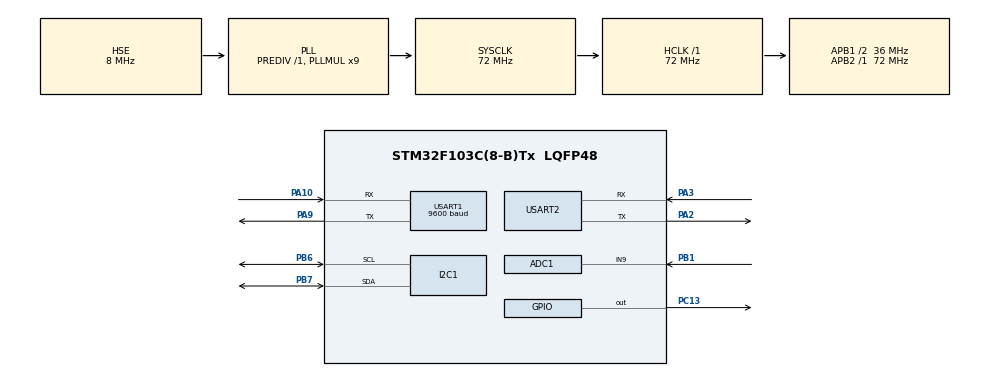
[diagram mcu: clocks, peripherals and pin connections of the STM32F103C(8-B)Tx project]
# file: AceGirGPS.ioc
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ADC1.Channel-0\#ChannelRegularConversion=ADC_CHANNEL_9
ADC1.NbrOfConversionFlag=1
ADC1.master=1
Dma.Request0=USART1_RX
Dma.Request1=USART1_TX
Dma.Request2=USART2_RX
Dma.Request3=USART2_TX
Dma.USART1_RX.0.Direction=DMA_PERIPH_TO_MEMORY
Dma.USART1_RX.0.Instance=DMA1_Channel5
Dma.USART1_RX.0.MemDataAlignment=DMA_MDATAALIGN_BYTE
Dma.USART1_RX.0.MemInc=DMA_MINC_ENABLE
Dma.USART1_RX.0.Mode=DMA_NORMAL
Dma.USART1_RX.0.PeriphDataAlignment=DMA_PDATAALIGN_BYTE
Dma.USART1_RX.0.PeriphInc=DMA_PINC_DISABLE
Dma.USART1_RX.0.Priority=DMA_PRIORITY_LOW
Dma.USART1_TX.1.Direction=DMA_MEMORY_TO_PERIPH
Dma.USART1_TX.1.Instance=DMA1_Channel4
Dma.USART1_TX.1.MemDataAlignment=DMA_MDATAALIGN_BYTE
Dma.USART1_TX.1.MemInc=DMA_MINC_ENABLE
Dma.USART1_TX.1.Mode=DMA_NORMAL
Dma.USART1_TX.1.PeriphDataAlignment=DMA_PDATAALIGN_BYTE
Dma.USART1_TX.1.PeriphInc=DMA_PINC_DISABLE
Dma.USART1_TX.1.Priority=DMA_PRIORITY_LOW
Dma.USART2_RX.2.Direction=DMA_PERIPH_TO_MEMORY
Dma.USART2_RX.2.Instance=DMA1_Channel6
Dma.USART2_RX.2.MemDataAlignment=DMA_MDATAALIGN_BYTE
Dma.USART2_RX.2.MemInc=DMA_MINC_ENABLE
Dma.USART2_RX.2.Mode=DMA_NORMAL
Dma.USART2_RX.2.PeriphDataAlignment=DMA_PDATAALIGN_BYTE
Dma.USART2_RX.2.PeriphInc=DMA_PINC_DISABLE
Dma.USART2_RX.2.Priority=DMA_PRIORITY_LOW
Dma.USART2_TX.3.Direction=DMA_MEMORY_TO_PERIPH
Dma.USART2_TX.3.Instance=DMA1_Channel7
Dma.USART2_TX.3.MemDataAlignment=DMA_MDATAALIGN_BYTE
Dma.USART2_TX.3.MemInc=DMA_MINC_ENABLE
Dma.USART2_TX.3.Mode=DMA_NORMAL
Dma.USART2_TX.3.PeriphDataAlignment=DMA_PDATAALIGN_BYTE
Dma.USART2_TX.3.PeriphInc=DMA_PINC_DISABLE
Dma.USART2_TX.3.Priority=DMA_PRIORITY_LOW
Mcu.Family=STM32F1
Mcu.Name=STM32F103C(8-B)Tx
Mcu.Package=LQFP48
NVIC.DMA1_Channel4_IRQn=true\:0\:0\:false\:false\:true\:false\:true
NVIC.DMA1_Channel5_IRQn=true\:0\:0\:false\:false\:true\:false\:true
NVIC.DMA1_Channel6_IRQn=true\:0\:0\:false\:false\:true\:false\:true
NVIC.DMA1_Channel7_IRQn=true\:0\:0\:false\:false\:true\:false\:true
NVIC.PriorityGroup=NVIC_PRIORITYGROUP_4
NVIC.USART1_IRQn=true\:0\:0\:false\:false\:true\:true\:true
NVIC.USART2_IRQn=true\:0\:0\:false\:false\:true\:true\:true
PA10.Mode=Asynchronous
PA10.Signal=USART1_RX
PA13.Mode=Serial_Wire
PA13.Signal=SYS_JTMS-SWDIO
PA14.Mode=Serial_Wire
PA14.Signal=SYS_JTCK-SWCLK
PA2.Mode=Asynchronous
PA2.Signal=USART2_TX
PA3.Mode=Asynchronous
PA3.Signal=USART2_RX
PA9.Mode=Asynchronous
PA9.Signal=USART1_TX
PB1.Signal=ADCx_IN9
PB6.Mode=I2C
PB6.Signal=I2C1_SCL
PB7.Mode=I2C
PB7.Signal=I2C1_SDA
PC13-TAMPER-RTC.Signal=GPIO_Output
PD0-OSC_IN.Mode=HSE-External-Oscillator
PD0-OSC_IN.Signal=RCC_OSC_IN
PD1-OSC_OUT.Mode=HSE-External-Oscillator
PD1-OSC_OUT.Signal=RCC_OSC_OUT
ProjectManager.HeapSize=0x200
ProjectManager.StackSize=0x400
ProjectManager.TargetToolchain=STM32CubeIDE
RCC.AHBFreq_Value=72000000
RCC.APB1CLKDivider=RCC_HCLK_DIV2
RCC.APB1Freq_Value=36000000
RCC.APB1TimFreq_Value=72000000
RCC.APB2Freq_Value=72000000
RCC.APB2TimFreq_Value=72000000
RCC.HCLKFreq_Value=72000000
RCC.PLLMUL=RCC_PLL_MUL9
RCC.PLLSourceVirtual=RCC_PLLSOURCE_HSE
RCC.SYSCLKFreq_VALUE=72000000
RCC.SYSCLKSource=RCC_SYSCLKSOURCE_PLLCLK
RCC.USBFreq_Value=72000000
SH.ADCx_IN9.0=ADC1_IN9,IN9
USART1.BaudRate=9600
USART1.VirtualMode=VM_ASYNC
USART2.VirtualMode=VM_ASYNC
board=custom

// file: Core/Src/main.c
/* USER CODE BEGIN Header */
/**
  ******************************************************************************
  * @file           : main.c
  * @brief          : Main program body
  ******************************************************************************
  * @attention
  *
  * <h2><center>&copy; Copyright (c) 2020 STMicroelectronics.
  * All rights reserved.</center></h2>
  *
  * This software component is licensed by ST under BSD 3-Clause license,
  * the "License"; You may not use this file except in compliance with the
  * License. You may obtain a copy of the License at:
  *                        opensource.org/licenses/BSD-3-Clause
  *
  ******************************************************************************
  */
/* USER CODE END Header */

#include "main.h"

/* USER CODE BEGIN Includes */
#include <stdlib.h>
#include <math.h>
/* USER CODE END Includes */

ADC_HandleTypeDef hadc1;

I2C_HandleTypeDef hi2c1;

UART_HandleTypeDef huart1;
UART_HandleTypeDef huart2;
DMA_HandleTypeDef hdma_usart1_rx;
DMA_HandleTypeDef hdma_usart1_tx;
DMA_HandleTypeDef hdma_usart2_rx;
DMA_HandleTypeDef hdma_usart2_tx;

/* USER CODE BEGIN PV */

// variaveis MPU6050
#define MPU6050_ADDR 0xD0
#define SMPLRT_DIV_REG 0x19
#define GYRO_CONFIG_REG 0x1B
#define ACCEL_CONFIG_REG 0x1C
#define ACCEL_XOUT_H_REG 0x3B
#define TEMP_OUT_H_REG 0x41
#define GYRO_XOUT_H_REG 0x43
#define PWR_MGMT_1_REG 0x6B
#define WHO_AM_I_REG 0x75
int16_t Accel_X_RAW = 0;
int16_t Accel_Y_RAW = 0;
int16_t Accel_Z_RAW = 0;
int16_t Gyro_X_RAW = 0;
int16_t Gyro_Y_RAW = 0;
int16_t Gyro_Z_RAW = 0;
float Ax, Ay, Az, Gx, Gy, Gz;
float roll, pitch, yaw;

// variaveis GPS
uint8_t rx_gps[1]; //armazena caracteres recebidos do gps
int lendoDado = 0; //variavel de controle do gps
int x = 0; //contador da string do gps
char lat_String[9]; //armazena latitude em char
int lat_Cont; //contador da latitude
float lat=0; //armazena latitude em float
char lon_String[10]; //armazena longitude em char
int lon_Cont; //contador da longitude
float lon=0; //armazena longitude em float
char vel_String[4]; //armazena velocidade em char
int vel_Cont; //contador da velocidade
float vel=0; //armazena velocidade em float
char gps_freq[] = { 0xB5, 0x62, 0x06, 0x08, 0x06, 0x00, 0x64, 0x00, 0x01, 0x00, 0x01, 0x00, 0x7A, 0x12, 0xB5, 0x62, 0x06, 0x08, 0x00, 0x00, 0x0E, 0x30 }; //codigo de frequencia de 10hz do gps (datasheet)
char gps_baud[] = { 0xB5, 0x62, 0x06, 0x00, 0x14, 0x00, 0x01, 0x00, 0x00, 0x00,
		0xD0, 0x08, 0x00, 0x00, 0x00, 0xC2, 0x01, 0x00, 0x23, 0x00, 0x03, 0x00,
		0x00, 0x00, 0x00, 0x00, 0xDC, 0x5E, 0xB5, 0x62, 0x06, 0x00, 0x01, 0x00,
		0x01, 0x08, 0x22 }; //codigo de baudrate 115200 do gps (datasheet)

//variaveis bussola
int analog_bussola = 0; //armazena valor analogico lido da bussola
float bussola = 0; //armazena valor convertido da bussola em graus

// variaveis gerais
char rx_pc[1];
char buffer[56];

/* USER CODE END PV */

void SystemClock_Config(void);
static void MX_GPIO_Init(void);
static void MX_I2C1_Init(void);
static void MX_USART1_UART_Init(void);
static void MX_USART2_UART_Init(void);
static void MX_DMA_Init(void);
static void MX_ADC1_Init(void);

/* USER CODE BEGIN 0 */

void Inicializar_MPU6050 (void)
{
	uint8_t check;
	uint8_t dados;

	// checar se o módulo está conectado
	HAL_I2C_Mem_Read (&hi2c1, MPU6050_ADDR,WHO_AM_I_REG,1, &check, 1, 1000);

	if (check == 104)  // 0x68 = 104 -> será retornado seu o modulo estiver OK
	{
		// ligar sensor
		dados = 0;
		HAL_I2C_Mem_Write(&hi2c1, MPU6050_ADDR, PWR_MGMT_1_REG, 1,&dados, 1, 1000);

		// definir frequencia de 1khz
		dados = 0x07;
		HAL_I2C_Mem_Write(&hi2c1, MPU6050_ADDR, SMPLRT_DIV_REG, 1, &dados, 1, 1000);

		// definir configuracao de acelerometro
		dados = 0x00;
		HAL_I2C_Mem_Write(&hi2c1, MPU6050_ADDR, ACCEL_CONFIG_REG, 1, &dados, 1, 1000);

		// definir configuracao de giroscopio
		dados = 0x00;
		HAL_I2C_Mem_Write(&hi2c1, MPU6050_ADDR, GYRO_CONFIG_REG, 1, &dados, 1, 1000);
	}

}

void Ler_Acelerometro (void)
{
	uint8_t acelerometro[6];

	HAL_I2C_Mem_Read (&hi2c1, MPU6050_ADDR, ACCEL_XOUT_H_REG, 1, acelerometro, 6, 1000);

	Accel_X_RAW = (int16_t)(acelerometro[0] << 8 | acelerometro [1]);
	Accel_Y_RAW = (int16_t)(acelerometro[2] << 8 | acelerometro [3]);
	Accel_Z_RAW = (int16_t)(acelerometro[4] << 8 | acelerometro [5]);

	//converter valores em 'g', dividindo por 16384 (FS_SEL)=0
	Ax = Accel_X_RAW/16384.0;
	Ay = Accel_Y_RAW/16384.0;
	Az = Accel_Z_RAW/16384.0;
}

void Ler_Giroscopio (void)
{
	uint8_t Rec_Data[6];

	HAL_I2C_Mem_Read (&hi2c1, MPU6050_ADDR, GYRO_XOUT_H_REG, 1, Rec_Data, 6, 1000);

	Gyro_X_RAW = (int16_t)(Rec_Data[0] << 8 | Rec_Data [1]);
	Gyro_Y_RAW = (int16_t)(Rec_Data[2] << 8 | Rec_Data [3]);
	Gyro_Z_RAW = (int16_t)(Rec_Data[4] << 8 | Rec_Data [5]);

	//converter valores em 'graus/segundo', dividindo por 131 (FS_SEL)=0
	Gx = Gyro_X_RAW/131.0;
	Gy = Gyro_Y_RAW/131.0;
	Gz = Gyro_Z_RAW/131.0;
}

void Roll_Pitch_Yaw(){
	//utilizando os dados de acelerometro e giroscopio para calcular roll
	roll = ((180*atan(Ay/Az)/3.14)+Gx)/2;

	//utilizando os dados de acelerometro e giroscopio para calcular pitch
	pitch = ((180*atan(-Ax/sqrt(pow(Ax,2)+pow(Ay,2)))/3.14)+Gy)/2;

	//utilizando os dados de acelerometro, giroscopio e bussola para calcular yaw
	yaw = ((180*atan((bussola*cos(pitch)+bussola*sin(pitch))/(bussola*sin(roll)*sin(pitch)+bussola*cos(roll)-bussola*sin(roll)*cos(pitch)))/3.14)+Gz)/2;
}

void Inicializar_GPS() {
	HAL_Delay(2000);
	HAL_UART_Transmit(&huart1, "\r\n\r\n$PUBX,40,GGA,0,0,0,0,0,0*5A\r\n\r\n", 35, 10000); //remove mensagem GGA
	HAL_Delay(10);
	HAL_UART_Transmit(&huart1, "\r\n\r\n$PUBX,40,GSV,0,0,0,0,0,0*59\r\n\r\n", 35, 10000); //remove mensagem GSV
	HAL_Delay(10);
	HAL_UART_Transmit(&huart1, "\r\n\r\n$PUBX,40,GSA,0,0,0,0,0,0*4E\r\n\r\n", 35, 10000); //remove mensagem GSA
	HAL_Delay(10);
	HAL_UART_Transmit(&huart1, "\r\n\r\n$PUBX,40,GLL,0,0,0,0,0,0*5C\r\n\r\n", 35, 10000); //remove mensagem GLL
	HAL_Delay(10);
	HAL_UART_Transmit(&huart1, "\r\n\r\n$PUBX,40,VTG,0,0,0,0,0,0*5E\r\n\r\n", 35, 10000); //remove mensagem VTG
	HAL_Delay(10);
	HAL_UART_Transmit(&huart1, "\r\n\r\n$PUBX,40,GSV,0,0,0,0,0,0*59\r\n\r\n", 35, 10000); //remove mensagem GSV
	HAL_Delay(10);
	HAL_UART_Transmit(&huart1, gps_freq,22, 10000); //define frequencia de 10hz
	HAL_Delay(10);
	HAL_UART_Transmit(&huart1, gps_baud,37 , 10000); //define baudrate de 115200
	HAL_Delay(10);
	HAL_UART_DeInit(&huart1);
	huart1.Init.BaudRate = 115200;
	HAL_UART_Init(&huart1);

	for(int i=0;i<9;i++){
		lat_String[i]='0';
		lon_String[i]='0';
	}
	lon_String[9]='0';
}

void Valores_GPS() {
	if (rx_gps[0] == '$') { //inicio da string enviada pelo gps
		lendoDado = 1;
	}
	if (rx_gps[0] == '*' || x > 100) { //fim da string enviada pelo gps
		lendoDado = 0;
		x = 0;
		lat_Cont=0;
		lon_Cont=0;
		lat = atof(lat_String);
		lon = atof(lon_String);
		vel = atof(vel_String);
	}
	if (lendoDado == 1) {
		if (x >= 19 && x <= 27) { //armazena dados de latitude
			lat_String[lat_Cont]= rx_gps[0];
			lat_Cont++;
		}
		if (x >= 32 && x <= 41) { //armazena dados de longitude
			lon_String[lon_Cont] = rx_gps[0];
			lon_Cont++;
		}
		if (x >= 43 && x <= 46) { //armazena dados de velocidade
			vel_String[vel_Cont] = rx_gps[0];
			vel_Cont++;
		}
		x++;
	}
}

void Ler_Bussola(){
	HAL_ADC_Start(&hadc1);
	HAL_ADC_PollForConversion(&hadc1, 1000);
	analog_bussola = HAL_ADC_GetValue(&hadc1); //12 bits -> 0 a 4095
	HAL_ADC_Stop(&hadc1);
	bussola = analog_bussola*360/4096;
}

/* USER CODE END 0 */

int main(void)
{

  /* MCU Configuration--------------------------------------------------------*/

  /* Reset of all peripherals, Initializes the Flash interface and the Systick. */
  HAL_Init();

  /* Configure the system clock */
  SystemClock_Config();

  /* Initialize all configured peripherals */
  MX_GPIO_Init();
  MX_I2C1_Init();
  MX_USART1_UART_Init();
  MX_USART2_UART_Init();
  MX_DMA_Init();
  MX_ADC1_Init();
  /* USER CODE BEGIN 2 */

  // inicializar sensores
  Inicializar_GPS();
  Inicializar_MPU6050();

  // inicializar interrupcoes
  HAL_UART_Receive_DMA(&huart1, rx_gps, 1);
  HAL_UART_Receive_DMA(&huart2, rx_pc, 1);

  /* USER CODE END 2 */

  /* Infinite loop */
  while (1)
  {

    /* USER CODE BEGIN 3 */

	Ler_Acelerometro();
	Ler_Giroscopio();
	Ler_Bussola();

	Roll_Pitch_Yaw();

	sprintf(buffer,"%.3f;%.3f;%.3f;%.4f;%.4f;%.2f\n",roll, pitch, yaw, lat, lon, vel);

	HAL_UART_Transmit(&huart2, buffer, strlen(buffer), 500);

	HAL_Delay (1000);
  }
  /* USER CODE END 3 */
}

void SystemClock_Config(void)
{
  RCC_OscInitTypeDef RCC_OscInitStruct = {0};
  RCC_ClkInitTypeDef RCC_ClkInitStruct = {0};
  RCC_PeriphCLKInitTypeDef PeriphClkInit = {0};

  /** Initializes the CPU, AHB and APB busses clocks
  */
  RCC_OscInitStruct.OscillatorType = RCC_OSCILLATORTYPE_HSE;
  RCC_OscInitStruct.HSEState = RCC_HSE_ON;
  RCC_OscInitStruct.HSEPredivValue = RCC_HSE_PREDIV_DIV1;
  RCC_OscInitStruct.HSIState = RCC_HSI_ON;
  RCC_OscInitStruct.PLL.PLLState = RCC_PLL_ON;
  RCC_OscInitStruct.PLL.PLLSource = RCC_PLLSOURCE_HSE;
  RCC_OscInitStruct.PLL.PLLMUL = RCC_PLL_MUL9;
  if (HAL_RCC_OscConfig(&RCC_OscInitStruct) != HAL_OK)
  {
    Error_Handler();
  }
  /** Initializes the CPU, AHB and APB busses clocks
  */
  RCC_ClkInitStruct.ClockType = RCC_CLOCKTYPE_HCLK|RCC_CLOCKTYPE_SYSCLK
                              |RCC_CLOCKTYPE_PCLK1|RCC_CLOCKTYPE_PCLK2;
  RCC_ClkInitStruct.SYSCLKSource = RCC_SYSCLKSOURCE_PLLCLK;
  RCC_ClkInitStruct.AHBCLKDivider = RCC_SYSCLK_DIV1;
  RCC_ClkInitStruct.APB1CLKDivider = RCC_HCLK_DIV2;
  RCC_ClkInitStruct.APB2CLKDivider = RCC_HCLK_DIV1;

  if (HAL_RCC_ClockConfig(&RCC_ClkInitStruct, FLASH_LATENCY_2) != HAL_OK)
  {
    Error_Handler();
  }
  PeriphClkInit.PeriphClockSelection = RCC_PERIPHCLK_ADC;
  PeriphClkInit.AdcClockSelection = RCC_ADCPCLK2_DIV2;
  if (HAL_RCCEx_PeriphCLKConfig(&PeriphClkInit) != HAL_OK)
  {
    Error_Handler();
  }
}

static void MX_ADC1_Init(void)
{

  ADC_ChannelConfTypeDef sConfig = {0};

  /** Common config
  */
  hadc1.Instance = ADC1;
  hadc1.Init.ScanConvMode = ADC_SCAN_DISABLE;
  hadc1.Init.ContinuousConvMode = DISABLE;
  hadc1.Init.DiscontinuousConvMode = DISABLE;
  hadc1.Init.ExternalTrigConv = ADC_SOFTWARE_START;
  hadc1.Init.DataAlign = ADC_DATAALIGN_RIGHT;
  hadc1.Init.NbrOfConversion = 1;
  if (HAL_ADC_Init(&hadc1) != HAL_OK)
  {
    Error_Handler();
  }
  /** Configure Regular Channel
  */
  sConfig.Channel = ADC_CHANNEL_9;
  sConfig.Rank = ADC_REGULAR_RANK_1;
  sConfig.SamplingTime = ADC_SAMPLETIME_1CYCLE_5;
  if (HAL_ADC_ConfigChannel(&hadc1, &sConfig) != HAL_OK)
  {
    Error_Handler();
  }

}

static void MX_I2C1_Init(void)
{

  hi2c1.Instance = I2C1;
  hi2c1.Init.ClockSpeed = 100000;
  hi2c1.Init.DutyCycle = I2C_DUTYCYCLE_2;
  hi2c1.Init.OwnAddress1 = 0;
  hi2c1.Init.AddressingMode = I2C_ADDRESSINGMODE_7BIT;
  hi2c1.Init.DualAddressMode = I2C_DUALADDRESS_DISABLE;
  hi2c1.Init.OwnAddress2 = 0;
  hi2c1.Init.GeneralCallMode = I2C_GENERALCALL_DISABLE;
  hi2c1.Init.NoStretchMode = I2C_NOSTRETCH_DISABLE;
  if (HAL_I2C_Init(&hi2c1) != HAL_OK)
  {
    Error_Handler();
  }

}

static void MX_USART1_UART_Init(void)
{

  huart1.Instance = USART1;
  huart1.Init.BaudRate = 9600;
  huart1.Init.WordLength = UART_WORDLENGTH_8B;
  huart1.Init.StopBits = UART_STOPBITS_1;
  huart1.Init.Parity = UART_PARITY_NONE;
  huart1.Init.Mode = UART_MODE_TX_RX;
  huart1.Init.HwFlowCtl = UART_HWCONTROL_NONE;
  huart1.Init.OverSampling = UART_OVERSAMPLING_16;
  if (HAL_UART_Init(&huart1) != HAL_OK)
  {
    Error_Handler();
  }

}

static void MX_USART2_UART_Init(void)
{

  huart2.Instance = USART2;
  huart2.Init.BaudRate = 115200;
  huart2.Init.WordLength = UART_WORDLENGTH_8B;
  huart2.Init.StopBits = UART_STOPBITS_1;
  huart2.Init.Parity = UART_PARITY_NONE;
  huart2.Init.Mode = UART_MODE_TX_RX;
  huart2.Init.HwFlowCtl = UART_HWCONTROL_NONE;
  huart2.Init.OverSampling = UART_OVERSAMPLING_16;
  if (HAL_UART_Init(&huart2) != HAL_OK)
  {
    Error_Handler();
  }

}

static void MX_DMA_Init(void)
{

  /* DMA controller clock enable */
  __HAL_RCC_DMA1_CLK_ENABLE();

  /* DMA interrupt init */
  /* DMA1_Channel4_IRQn interrupt configuration */
  HAL_NVIC_SetPriority(DMA1_Channel4_IRQn, 0, 0);
  HAL_NVIC_EnableIRQ(DMA1_Channel4_IRQn);
  /* DMA1_Channel5_IRQn interrupt configuration */
  HAL_NVIC_SetPriority(DMA1_Channel5_IRQn, 0, 0);
  HAL_NVIC_EnableIRQ(DMA1_Channel5_IRQn);
  /* DMA1_Channel6_IRQn interrupt configuration */
  HAL_NVIC_SetPriority(DMA1_Channel6_IRQn, 0, 0);
  HAL_NVIC_EnableIRQ(DMA1_Channel6_IRQn);
  /* DMA1_Channel7_IRQn interrupt configuration */
  HAL_NVIC_SetPriority(DMA1_Channel7_IRQn, 0, 0);
  HAL_NVIC_EnableIRQ(DMA1_Channel7_IRQn);

}

static void MX_GPIO_Init(void)
{
  GPIO_InitTypeDef GPIO_InitStruct = {0};

  /* GPIO Ports Clock Enable */
  __HAL_RCC_GPIOC_CLK_ENABLE();
  __HAL_RCC_GPIOD_CLK_ENABLE();
  __HAL_RCC_GPIOA_CLK_ENABLE();
  __HAL_RCC_GPIOB_CLK_ENABLE();

  /*Configure GPIO pin Output Level */
  HAL_GPIO_WritePin(GPIOC, GPIO_PIN_13, GPIO_PIN_RESET);

  /*Configure GPIO pin : PC13 */
  GPIO_InitStruct.Pin = GPIO_PIN_13;
  GPIO_InitStruct.Mode = GPIO_MODE_OUTPUT_PP;
  GPIO_InitStruct.Pull = GPIO_NOPULL;
  GPIO_InitStruct.Speed = GPIO_SPEED_FREQ_LOW;
  HAL_GPIO_Init(GPIOC, &GPIO_InitStruct);

}

/* USER CODE BEGIN 4 */

void HAL_UART_RxCpltCallback(UART_HandleTypeDef *huart) {
	if (huart->Instance == USART1){
		Valores_GPS();
		HAL_UART_Receive_DMA(&huart1, rx_gps, 1);
	}
	if (huart->Instance == USART2){
		HAL_UART_Transmit(&huart2, "PC_IT\n", 6, 500);
		HAL_UART_Receive_DMA(&huart2, rx_pc, 1);
	}
}

/* USER CODE END 4 */

void Error_Handler(void)
{
}

/************************ (C) COPYRIGHT STMicroelectronics *****END OF FILE****/
